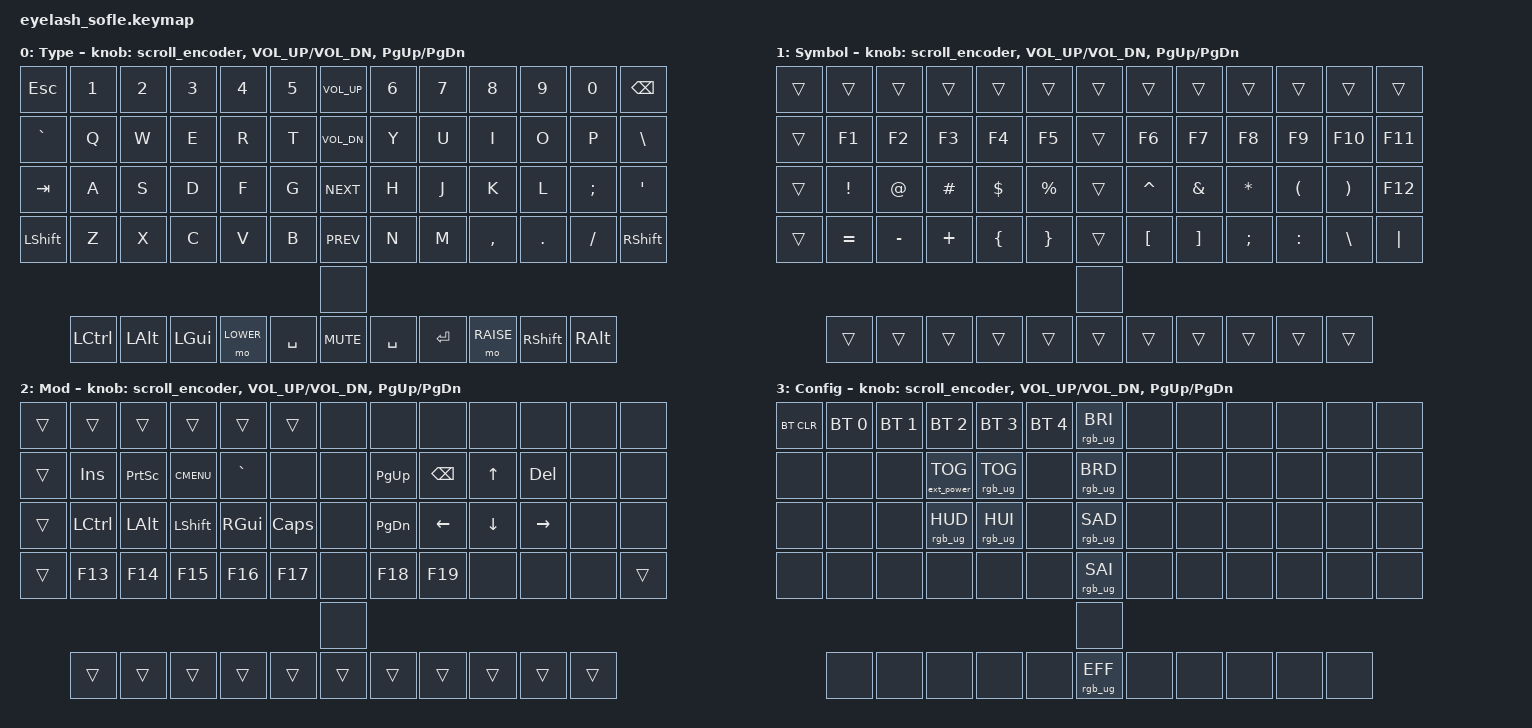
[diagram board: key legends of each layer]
#define ZMK_POINTING_DEFAULT_MOVE_VAL 1200  // 600
#define ZMK_POINTING_DEFAULT_SCRL_VAL 25   // 10

#include <input/processors.dtsi>
#include <zephyr/dt-bindings/input/input-event-codes.h>
#include <behaviors.dtsi>
#include <dt-bindings/zmk/bt.h>
#include <dt-bindings/zmk/ext_power.h>
#include <dt-bindings/zmk/keys.h>
#include <dt-bindings/zmk/pointing.h>
#include <dt-bindings/zmk/rgb.h>
#include <dt-bindings/zmk/outputs.h>

&mmv_input_listener { input-processors = <&zip_xy_scaler 2 1>; };

&msc_input_listener { input-processors = <&zip_scroll_scaler 2 1>; };

&msc {
    acceleration-exponent = <1>;      // 0
    time-to-max-speed-ms = <100>;     // 300
    delay-ms = <0>;                   // 0
};

&mmv {
    time-to-max-speed-ms = <500>;
    acceleration-exponent = <1>;
    trigger-period-ms = <16>;
};

#define BASE 0
#define LOWER 1
#define RAISE 2
#define ADJUST 3

/ {

   // Activate ADJUST layer by pressing raise and lower
    conditional_layers {
        compatible = "zmk,conditional-layers";
        adjust_layer {
            if-layers = <LOWER RAISE>;
            then-layer = <ADJUST>;
        };
    };

    scroll_encoder: scroll_encoder {
        compatible = "zmk,behavior-sensor-rotate";
        #sensor-binding-cells = <0>;
        bindings = <&msc SCRL_DOWN>, <&msc SCRL_UP>;
        tap-ms = <100>;
    };
    keymap {
        compatible = "zmk,keymap";
        default_layer {
            display-name = "Type";
            sensor-bindings = <&scroll_encoder &inc_dec_kp C_VOL_UP C_VOL_DN &inc_dec_kp PG_UP PG_DN>;
// --------------------------------------------------------------------------------------------------------------------------
// |  ESC  |  1   |  2  |  3   |  4    |  5    |             | ^ | Vol. up        |  6     |  7     |  8     |  9    |   0   | BKSPC |
// |   `   |  Q   |  W  |  E   |  R    |  T    |             | v | Vol. down      |  Y     |  U     |  I     |  O    |   P   |  | \  |
// |  TAB  |  A   |  S  |  D   |  F    |  G    |             | > | Next           |  H     |  J     |  K     |  L    |   ;   |   '   |
// | SHIFT |  Z   |  X  |  C   |  V    |  B    |             | < | Previous       |  N     |  M     |  ,     |  .    |   /   | SHIFT |
//         | CTRL | ALT | GUI  | LOWER | Space |             | o | Mute           | Enter  | Raise  | CTRL   | ALT   |  GUI  |
            bindings = <
&kp ESC     &kp N1     &kp N2   &kp N3   &kp N4     &kp N5        &kp C_VOL_UP     &kp N6    &kp N7    &kp N8    &kp N9    &kp N0   &kp BSPC
&kp GRAVE   &kp Q      &kp W    &kp E    &kp R      &kp T         &kp C_VOL_DN     &kp Y     &kp U     &kp I     &kp O     &kp P    &kp BSLH
&kp TAB     &kp A      &kp S    &kp D    &kp F      &kp G         &kp C_NEXT       &kp H     &kp J     &kp K     &kp L     &kp SEMI &kp SQT
&kp LSHFT   &kp Z      &kp X    &kp C    &kp V      &kp B         &kp C_PREV       &kp N     &kp M     &kp COMMA &kp DOT   &kp FSLH &kp RSHFT
                                                                  &none
            &kp LCTRL  &kp LALT &kp LGUI &mo LOWER  &kp SPACE     &kp C_MUTE       &kp SPACE &kp ENTER &mo RAISE &kp RSHFT &kp RALT
            >;
        };

        lower_layer {
            display-name = "Symbol";
            sensor-bindings = <&scroll_encoder &inc_dec_kp C_VOL_UP C_VOL_DN &inc_dec_kp PG_UP PG_DN>;
// TODO: Some binds are waiting for shifted keycode support.
// ------------------------------------------------------------------------------------------------------------
// |       |     |     |      |      |      |               | ^ |            |      |       |       |      |       |       |
// |       |  F1 |  F2 |  F3  |  F4  |  F5  |               | v |            |  F6  |  F7   |  F8   |  F9  |  F10  |  F11  |
// |       |  !  |  @  |  #   |  $   |  %   |               | > |            |  ^   |  &    |  *    |  (   |   )   |  F12  |
// |       |  =  |  -  |  +   |  {   |  }   |               | < |            |  [   |  ]    |  ;    |  :   |   \   |   |   |
//               |     |      |      |      |               | o |            |      |       |       |      |
            bindings = <
&trans    &trans    &trans    &trans      &trans    &trans       &trans      &trans    &trans   &trans    &trans    &trans    &trans
&trans    &kp F1    &kp F2    &kp F3      &kp F4    &kp F5       &trans      &kp F6    &kp F7   &kp F8    &kp F9    &kp F10   &kp F11
&trans    &kp EXCL  &kp AT    &kp HASH    &kp DLLR  &kp PRCNT    &trans      &kp CARET &kp AMPS &kp ASTRK &kp LPAR  &kp RPAR  &kp F12
&trans    &kp EQUAL &kp MINUS &kp PLUS    &kp LBRC  &kp RBRC     &trans      &kp LBKT  &kp RBKT &kp SEMI  &kp COLON &kp BSLH  &kp PIPE
                                                                 &none
          &trans    &trans    &trans      &trans    &trans       &trans      &trans    &trans   &trans    &trans    &trans
            >;
        };

        raise_layer {
            display-name = "Mod";
            sensor-bindings = <&scroll_encoder &inc_dec_kp C_VOL_UP C_VOL_DN &inc_dec_kp PG_UP PG_DN>;
// ------------------------------------------------------------------------------------------------------------
// |     | F13        | F14       | F15             |    F16         | F17  |        | ^ |          |    F18     | F19    |        |       |       |       |
// |     | INS        | PSCR      |                 |     `          |      |        | v |          |    PGUP    | BKSPC  |   ^    |  DEL  |       |       |
// |     | CTRL       | ALT       | SHIFT           |    GUI         | CAPS |        | > |          |    PGDN    |     <- |   v    |   ->  |       |       |
// |     | F20        | F21       | F22             |    F23         | F24  |        | < |          |    F24     |        |        |       |       |       |
//                    |           |                 |                |      |        | o |          |            |        |        |       |
            bindings = <   
&trans  &trans           &trans        &trans        &trans           &trans         &none          &none         &none     &none    &none     &none    &none
&trans  &kp INS          &kp PSCRN     &kp K_CMENU   &kp GRAVE        &none          &none           &kp PG_UP     &kp BSPC  &kp UP   &kp DEL   &none    &none
&trans  &kp LCTRL        &kp LALT      &kp LSHFT     &kp RGUI         &kp CLCK       &none           &kp PG_DN     &kp LEFT  &kp DOWN &kp RIGHT &none    &none
&trans  &kp F13          &kp F14       &kp F15       &kp F16          &kp F17        &none           &kp F18       &kp F19   &none    &none     &none    &trans
                                                                                     &none
        &trans           &trans        &trans        &trans           &trans         &trans          &trans        &trans    &trans   &trans    &trans
            >;
        };

        adjust_layer {
            display-name = "Config";
            sensor-bindings = <&scroll_encoder &inc_dec_kp C_VOL_UP C_VOL_DN &inc_dec_kp PG_UP PG_DN>;
// ----------------------------------------------------------------------------------------------------------------------------
// |   BTCLR    |   BT1         |      BT2       |     BT3         |     BT4       |     BT5    |  | ^ | RGB_BRI   |      |      |       |      |       |       |
// |            |               |                |  EXTPWR         |  RGB Toggle   |            |  | v | RGB_BRD   |      |      |       |      |       |       |
// |            |               |                |  RGB_HUD        |  RGB_HUI      |            |  | > | RGB_SAD   |      |      |       |      |       |       |
// |            |               |                |                 |               |            |  | < | RGB_SAI   |      |      |       |      |       |       |
//              |               |                |                 |               |            |  | o | RGB_EFF   |      |      |       |      |       |
            bindings = <
&bt BT_CLR        &bt BT_SEL 0    &bt BT_SEL 1    &bt BT_SEL 2      &bt BT_SEL 3    &bt BT_SEL 4    &rgb_ug RGB_BRI  &none   &none  &none   &none   &none   &none
&none             &none           &none           &ext_power EP_TOG &rgb_ug RGB_TOG &none           &rgb_ug RGB_BRD  &none   &none  &none   &none   &none   &none
&none             &none           &none           &rgb_ug RGB_HUD   &rgb_ug RGB_HUI &none           &rgb_ug RGB_SAD  &none   &none  &none   &none   &none   &none
&none             &none           &none           &none             &none           &none           &rgb_ug RGB_SAI  &none   &none  &none   &none   &none   &none
                                                                                                    &none   
                  &none           &none           &none             &none           &none           &rgb_ug RGB_EFF  &none   &none  &none   &none   &none   
            >;
        };

    };
};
